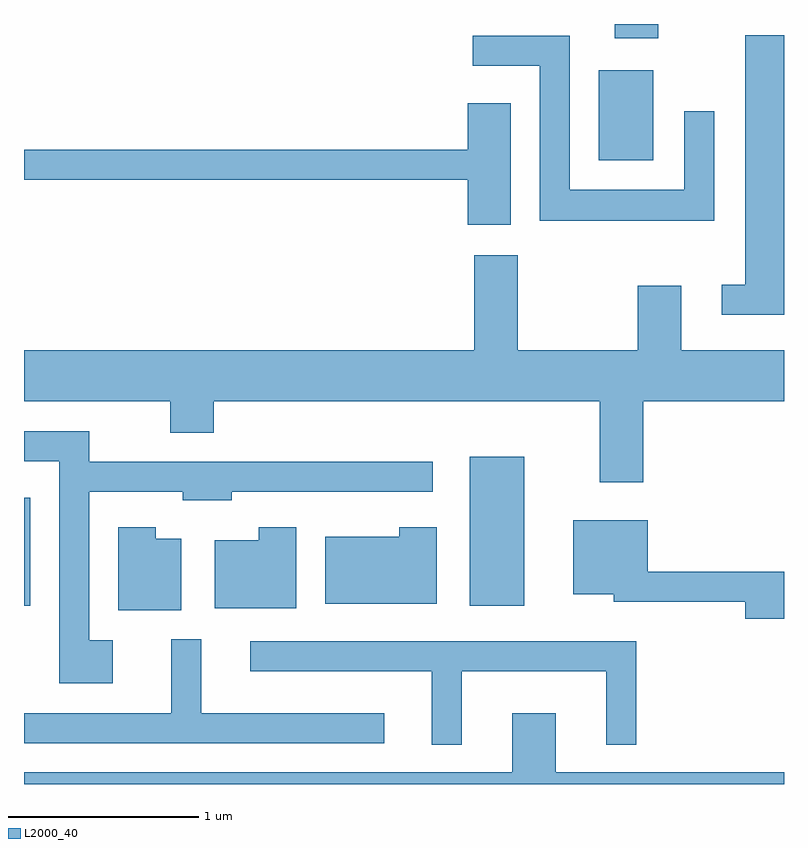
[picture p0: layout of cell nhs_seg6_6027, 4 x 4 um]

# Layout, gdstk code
import gdstk
lib = gdstk.Library(unit=1e-6, precision=1e-09)
def R(c, l, rs):  # rectangles x0, y0, x1, y1
    for r in rs: c.add(gdstk.rectangle(r[:2], r[2:], *l))
def P(c, l, *ps):  # polygons
    for p in ps: c.add(gdstk.Polygon(p, *l))
L2000_40 = (2000, 40)

nhs_seg6_6027 = lib.new_cell('nhs_seg6_6027')
R(nhs_seg6_6027, L2000_40, [(367.611,1631.101,367.644,1631.669), (369.956,1631.101,370.244,1631.884), (370.636,1633.446,370.924,1633.919), (370.721,1634.086,370.949,1634.162)])
P(nhs_seg6_6027, L2000_40, [(371.611,1634.104),(371.406,1634.104),(371.406,1632.789),(371.283,1632.789),(371.283,1632.631),(371.611,1632.631)],
  [(371.244,1633.703),(371.086,1633.703),(371.086,1633.289),(370.484,1633.289),(370.484,1634.099),(369.973,1634.099),(369.973,1633.941),(370.326,1633.941),(370.326,1633.126),(371.244,1633.126)],
  [(370.174,1633.744),(369.946,1633.744),(369.946,1633.499),(367.611,1633.499),(367.611,1633.341),(369.946,1633.341),(369.946,1633.106),(370.174,1633.106)],
  [(370.869,1632.176),(371.611,1632.176),(371.611,1632.444),(371.069,1632.444),(371.069,1632.784),(370.841,1632.784),(370.841,1632.444),(370.209,1632.444),(370.209,1632.944),(369.981,1632.944),(369.981,1632.444),(367.611,1632.444),(367.611,1632.176),(368.381,1632.176),(368.381,1632.011),(368.609,1632.011),(368.609,1632.176),(370.641,1632.176),(370.641,1631.751),(370.869,1631.751)],
  [(368.079,1630.919),(367.954,1630.919),(367.954,1631.701),(368.446,1631.701),(368.446,1631.656),(368.704,1631.656),(368.704,1631.701),(369.763,1631.701),(369.763,1631.859),(367.954,1631.859),(367.954,1632.019),(367.611,1632.019),(367.611,1631.861),(367.796,1631.861),(367.796,1630.691),(368.079,1630.691)],
  [(371.611,1631.279),(370.894,1631.279),(370.894,1631.549),(370.501,1631.549),(370.501,1631.161),(370.716,1631.161),(370.716,1631.121),(371.406,1631.121),(371.406,1631.031),(371.611,1631.031)],
  [(369.784,1631.514),(369.586,1631.514),(369.586,1631.464),(369.196,1631.464),(369.196,1631.111),(369.784,1631.111)],
  [(369.044,1631.514),(368.846,1631.514),(368.846,1631.444),(368.616,1631.444),(368.616,1631.086),(369.044,1631.086)],
  [(368.439,1631.454),(368.304,1631.454),(368.304,1631.514),(368.106,1631.514),(368.106,1631.076),(368.439,1631.076)],
  [(369.508,1630.534),(368.544,1630.534),(368.544,1630.923),(368.386,1630.923),(368.386,1630.534),(367.611,1630.534),(367.611,1630.376),(369.508,1630.376)],
  [(369.914,1630.756),(370.676,1630.756),(370.676,1630.368),(370.834,1630.368),(370.834,1630.914),(368.803,1630.914),(368.803,1630.756),(369.756,1630.756),(369.756,1630.368),(369.914,1630.368)],
  [(371.611,1630.224),(370.409,1630.224),(370.409,1630.534),(370.181,1630.534),(370.181,1630.224),(367.611,1630.224),(367.611,1630.162),(371.611,1630.162)])

lib.write_gds('nhs_seg6_6027.gds')
